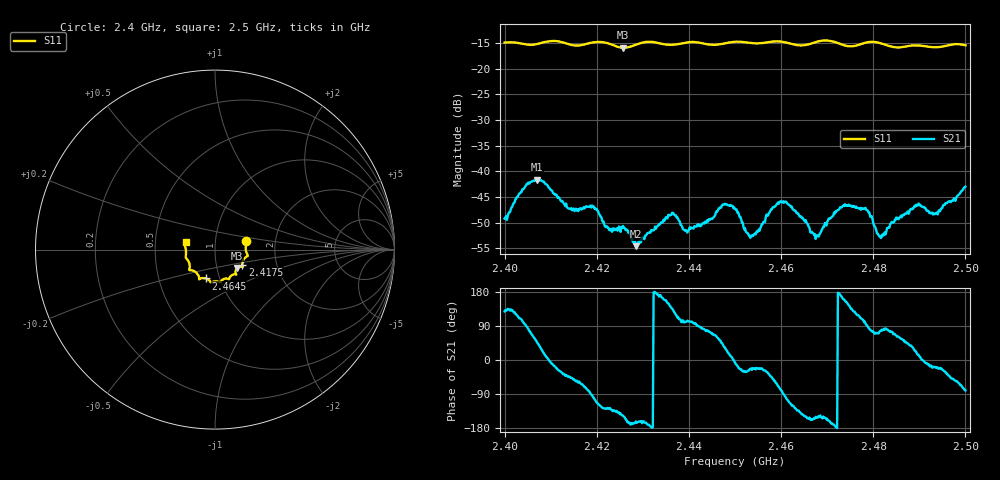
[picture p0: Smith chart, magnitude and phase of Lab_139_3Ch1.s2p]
# Hz S RI R 50
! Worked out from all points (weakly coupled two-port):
!   601 points, 2.4 GHz to 2.5 GHz, reference 50 ohm
!   highest |S21| = -41.62 dB at 2.407 GHz (marker M1); lowest = -54.6 dB at 2.4285 GHz (marker M2)
!   lowest |S11| = -15.9 dB at 2.4257 GHz (marker M3), VSWR 1.38, Z = 62.5 - j13.1 ohm
!   |S11| at or under -10 dB: start of sweep to end of sweep
!   S12 and S22 are empty: the file has one direction only
!   S11 on the Smith chart (normalised r, x): 2.4 GHz: 1.41, +0.14; 2.4175 GHz: 1.34, -0.23; 2.4645 GHz: 0.86, -0.28; 2.5 GHz: 0.72, +0.06
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2.4e9  0.1728 0.049  -0.00214 0.00272  0 0  0 0
2.407e9  0.1734 -0.0102  0.00561 0.00611  0 0  0 0
2.416667e9  0.1528 -0.074  0.00187 -0.0038  0 0  0 0
2.4175e9  0.1519 -0.0832  0.00138 -0.0042  0 0  0 0
2.425667e9  0.123 -0.1022  -0.00244 -0.00162  0 0  0 0
2.4285e9  0.1147 -0.1274  -0.00177 -0.000575  0 0  0 0
2.433333e9  0.113 -0.1373  -0.00293 0.000379  0 0  0 0
2.436667e9  0.0895 -0.1462  -0.00249 0.00299  0 0  0 0
2.4395e9  0.0796 -0.1615  -0.000508 0.00256  0 0  0 0
2.447667e9  0.0369 -0.1721  0.00394 0.00261  0 0  0 0
2.45e9  0.0287 -0.1811  0.00426 -0.000569  0 0  0 0
2.4535e9  0.0141 -0.1773  0.00218 -0.000902  0 0  0 0
2.459667e9  -0.0236 -0.1828  0.00135 -0.00478  0 0  0 0
2.4645e9  -0.0515 -0.1606  -0.00281 -0.00207  0 0  0 0
2.466667e9  -0.0758 -0.1594  -0.00235 -0.00103  0 0  0 0
2.474167e9  -0.0986 -0.1346  -0.00411 0.00206  0 0  0 0
2.478667e9  -0.1394 -0.1147  -9.62e-05 0.00417  0 0  0 0
2.481333e9  -0.1427 -0.1073  0.000615 0.00223  0 0  0 0
2.483333e9  -0.1407 -0.0901  0.000623 0.00276  0 0  0 0
2.4895e9  -0.1632 -0.0431  0.00446 0.00132  0 0  0 0
2.4935e9  -0.1613 -0.00824  0.00368 -0.00124  0 0  0 0
2.5e9  -0.1635 0.0436  0.00121 -0.00699  0 0  0 0
